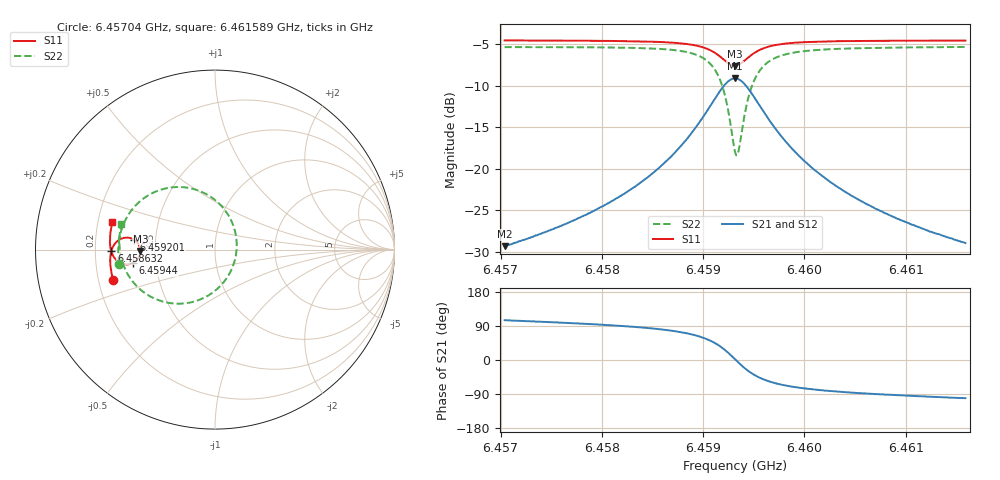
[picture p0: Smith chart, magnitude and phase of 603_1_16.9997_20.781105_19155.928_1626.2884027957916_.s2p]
#  HZ  S  RI  R  50.00
! Rohde & Schwarz Vector Network Analyzer
! Rohde-Schwarz,ZNB20-2Port,1311601062101988,3.16
! Created: UTC 3/20/2024, 11:19:06 PM
! freq[Hz]  re:S11  im:S11  re:S21  im:S21  re:S12  im:S12  re:S22  im:S22
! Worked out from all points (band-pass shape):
!   401 points, 6.45704 GHz to 6.461589 GHz, reference 50 ohm
!   highest |S21| = -9.12 dB at 6.459315 GHz (marker M1); lowest = -29.3 dB at 6.45704 GHz (marker M2)
!   |S21| within 3 dB of the highest: 6.459087 GHz to 6.459542 GHz (455.1 kHz wide, 0.00705 % of centre)
!   lowest |S11| = -7.6 dB at 6.459315 GHz (marker M3), VSWR 2.43, Z = 20.6 - j0.406 ohm
!   |S11| at or under -10 dB: nowhere
!   |S22| runs from -18.4 to -5.3 dB; largest |S21 - S12| = 0.014
!   S11 on the Smith chart (normalised r, x): 6.45704 GHz: 0.26, -0.13; 6.458632 GHz: 0.27, -0.01; 6.459201 GHz: 0.38, +0.05; 6.45944 GHz: 0.37, -0.07; 6.461589 GHz: 0.26, +0.12
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6.45704e9  -0.568 -0.1673  -0.00883 0.0329  -0.00703 0.0329  -0.5341 -0.079
6.457802e9  -0.5814 -0.1004  -0.00515 0.0513  -0.00271 0.0504  -0.5385 0.011
6.4582341e9  -0.5839 -0.0567  0.00116 0.0714  0.00441 0.07  -0.5291 0.0807
6.4585639e9  -0.5798 -0.0169  0.0151 0.0998  0.0191 0.0971  -0.5034 0.1566
6.4586322e9  -0.5774 -0.0074  0.0205 0.1084  0.0246 0.105  -0.493 0.1766
6.4588255e9  -0.5646 0.0229  0.0474 0.1395  0.0516 0.1344  -0.4422 0.2461
6.4589734e9  -0.5415 0.0492  0.0937 0.1699  0.0967 0.1632  -0.3573 0.3107
6.4591098e9  -0.4972 0.0665  0.1818 0.1863  0.1827 0.1789  -0.1956 0.3487
6.4592008e9  -0.4521 0.0559  0.2726 0.1543  0.2728 0.1484  -0.0275 0.2966
6.459269e9  -0.423 0.0233  0.3335 0.0814  0.3356 0.076  0.0892 0.1647
6.4593145e9  -0.416 -0.00814  0.3497 0.0126  0.3535 0.00548  0.1211 0.0356
6.4593487e9  -0.4202 -0.0321  0.3438 -0.0407  0.3478 -0.0499  0.1091 -0.0653
6.4593941e9  -0.4361 -0.0585  0.3144 -0.1011  0.3168 -0.1132  0.0497 -0.1799
6.4594396e9  -0.4583 -0.075  0.2718 -0.1426  0.2708 -0.1561  -0.0371 -0.2555
6.4595306e9  -0.5022 -0.0819  0.1856 -0.1736  0.1794 -0.1854  -0.2088 -0.3012
6.4595989e9  -0.5267 -0.0745  0.1368 -0.1714  0.1285 -0.1804  -0.3035 -0.2855
6.4596785e9  -0.5465 -0.0614  0.0967 -0.1591  0.088 -0.1654  -0.3785 -0.2501
6.4598377e9  -0.5682 -0.0335  0.0514 -0.1306  0.0436 -0.1335  -0.4597 -0.1767
6.4600765e9  -0.5809 0.00208  0.0221 -0.0985  0.0162 -0.0991  -0.5078 -0.0931
6.4604291e9  -0.5854 0.0442  0.00579 -0.0707  0.00169 -0.0701  -0.5294 -0.0111
6.4608385e9  -0.5835 0.0854  -0.00164 -0.0524  -0.0045 -0.0515  -0.5331 0.055
6.4615891e9  -0.5713 0.1522  -0.00659 -0.035  -0.00846 -0.034  -0.5215 0.1445
